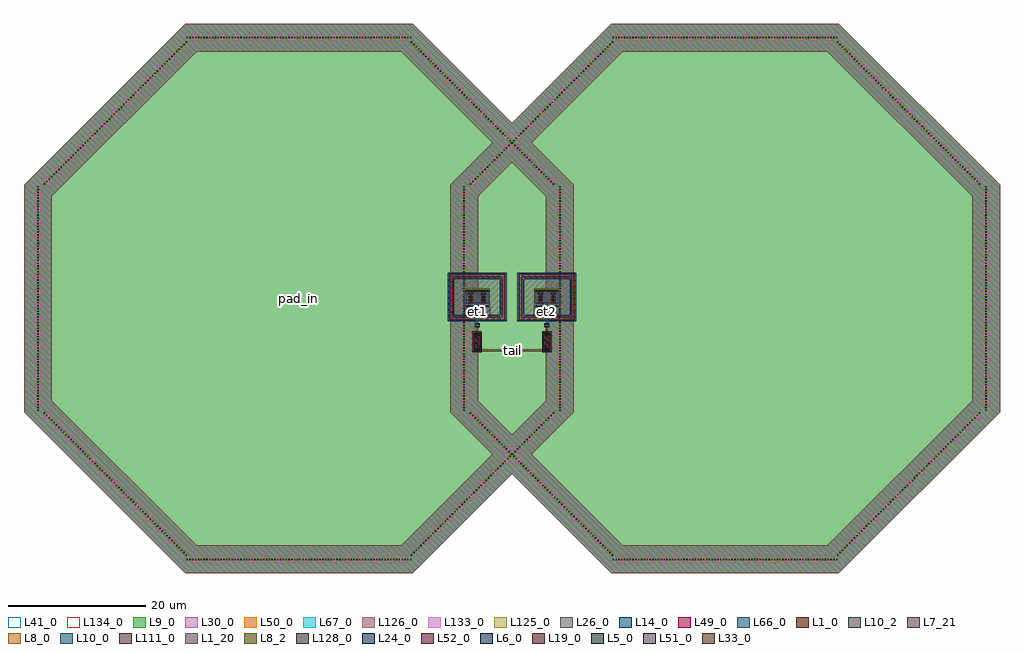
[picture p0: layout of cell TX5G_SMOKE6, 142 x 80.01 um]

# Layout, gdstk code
from math import pi, radians
import gdstk
lib = gdstk.Library(unit=1e-6, precision=1e-09)
def R(c, l, rs):  # rectangles x0, y0, x1, y1
    for r in rs: c.add(gdstk.rectangle(r[:2], r[2:], *l))
def A(c, l, x, y, w, h, nx, ny, dx, dy):  # array of equal rectangles
    R(c, l, [(x+i*dx, y+j*dy, x+i*dx+w, y+j*dy+h) for i in range(nx) for j in range(ny)])
def P(c, l, *ps):  # polygons
    for p in ps: c.add(gdstk.Polygon(p, *l))
L1_0 = (1, 0)
L1_20 = (1, 20)
L5_0 = (5, 0)
L6_0 = (6, 0)
L7_21 = (7, 21)
L8_0 = (8, 0)
L8_2 = (8, 2)
L9_0 = (9, 0)
L10_0 = (10, 0)
L10_2 = (10, 2)
L14_0 = (14, 0)
L19_0 = (19, 0)
L24_0 = (24, 0)
L26_0 = (26, 0)
L30_0 = (30, 0)
L33_0 = (33, 0)
L41_0 = (41, 0)
L49_0 = (49, 0)
L50_0 = (50, 0)
L51_0 = (51, 0)
L52_0 = (52, 0)
L66_0 = (66, 0)
L67_0 = (67, 0)
L111_0 = (111, 0)
L125_0 = (125, 0)
L126_0 = (126, 0)
L128_0 = (128, 0)
L133_0 = (133, 0)
L134_0 = (134, 0)

npn13g2 = lib.new_cell('npn13G2')
R(npn13g2, L1_0, [(-0.925,0.98,0.925,1.28), (0.925,0.98,2.775,1.28)])
P(npn13g2, L1_0, [(-3.15,-3.13),(-3.15,3.58),(4.5,3.58),(4.5,3.08),(-2.65,3.08),(-2.65,-2.63),(4.5,-2.63),(4.5,3.58),(5,3.58),(5,-3.13)])
P(npn13g2, L1_20, [(-0.235,-0.83),(-0.445,-0.62),(-0.925,-0.62),(-0.925,0.98),(0.925,0.98),(0.925,-0.62),(0.445,-0.62),(0.235,-0.83)],
  [(1.615,-0.83),(1.405,-0.62),(0.925,-0.62),(0.925,0.98),(2.775,0.98),(2.775,-0.62),(2.295,-0.62),(2.085,-0.83)])
R(npn13g2, L6_0, [(-0.76,-1.22,0.76,-1.06), (1.09,-1.22,2.61,-1.06), (-0.825,1.05,0.825,1.21), (1.025,1.05,2.675,1.21)])
P(npn13g2, L7_21, [(-0.975,-2.43),(-0.975,-0.9),(-0.555,-0.48),(-0.555,0.69),(-0.305,0.94),(0.305,0.94),(0.555,0.69),(0.555,-0.48),(0.975,-0.9),(0.975,-2.43)],
  [(0.875,-2.43),(0.875,-0.9),(1.295,-0.48),(1.295,0.69),(1.545,0.94),(2.155,0.94),(2.405,0.69),(2.405,-0.48),(2.825,-0.9),(2.825,-2.43)])
R(npn13g2, L8_0, [(-0.975,-1.26,2.825,-1.02), (-0.35,-0.785,0.35,0.77), (1.5,-0.785,2.2,0.77), (-0.925,1.02,2.775,1.46)])
R(npn13g2, L8_2, [(-0.975,-1.26,2.825,-1.02), (-0.975,-1.26,2.825,-1.02), (-0.925,1.02,2.775,1.46), (-0.925,1.02,2.775,1.46)])
R(npn13g2, L10_0, [(-0.925,-0.785,2.775,0.77)])
R(npn13g2, L10_2, [(-0.745,-0.785,2.595,0.77), (-0.745,-0.785,2.595,0.77)])
P(npn13g2, L14_0, [(-3.35,-3.33),(-3.35,3.78),(4.3,3.78),(4.3,2.88),(-2.45,2.88),(-2.45,-2.43),(4.3,-2.43),(4.3,3.78),(5.2,3.78),(5.2,-3.33)])
A(npn13g2, L19_0, -0.3, -0.72, 0.19, 0.19, 1, 4, 0, 0.41)
A(npn13g2, L19_0, 0.11, -0.72, 0.19, 0.19, 1, 4, 0, 0.41)
A(npn13g2, L19_0, 1.55, -0.72, 0.19, 0.19, 1, 4, 0, 0.41)
A(npn13g2, L19_0, 1.96, -0.72, 0.19, 0.19, 1, 4, 0, 0.41)
R(npn13g2, L26_0, [(-2.45,-2.43,4.3,2.88)])
R(npn13g2, L33_0, [(-0.035,-0.45,0.035,0.45), (1.815,-0.45,1.885,0.45)])
R(npn13g2, L51_0, [(-0.085,-0.5,0.085,0.5), (1.765,-0.5,1.935,0.5)])
npn13g2.add(gdstk.Label('npn13G2', (0,0), layer=51, texttype=0))
npn13g2.add(gdstk.Label('npn13G2', (1.85,0), layer=51, texttype=0))
npn13g2.add(gdstk.Label('npn13G2', (0.015,2.31), layer=63, texttype=0))
npn13g2.add(gdstk.Label('C', (0.925,1.24), layer=63, texttype=0))
npn13g2.add(gdstk.Label('B', (0.925,-1.14), layer=63, texttype=0))
npn13g2.add(gdstk.Label('E', (0.925,-0.007), layer=63, texttype=0))
npn13g2.add(gdstk.Label('Ae=2*1*0.07*0.90', (-1.977,-2.546), layer=63, texttype=0))

rsil = lib.new_cell('rsil')
R(rsil, L5_0, [(0,-0.35,1,0), (0,2,1,2.35)])
R(rsil, L6_0, [(0.07,-0.28,0.93,-0.12), (0.07,2.12,0.93,2.28)])
R(rsil, L8_0, [(0.02,-0.33,0.98,-0.07), (0.02,2.07,0.98,2.33)])
R(rsil, L8_2, [(0.02,-0.33,0.98,-0.07), (0.02,-0.33,0.98,-0.07), (0.02,2.07,0.98,2.33), (0.02,2.07,0.98,2.33)])
R(rsil, L24_0, [(0,0,1,2)])
R(rsil, L52_0, [(0,0,1,2)])
R(rsil, L111_0, [(-0.18,-0.53,1.18,0), (-0.18,0,1.18,2), (-0.18,0,1.18,2.53)])
R(rsil, L128_0, [(0,0,1,2)])
rsil.add(gdstk.Label('rsil r=22.9', (0.5,1), layer=63, texttype=0))
rsil.add(gdstk.Label('rsil', (0.5,1), layer=52, texttype=0))

via_stack = lib.new_cell('via_stack')
R(via_stack, L8_0, [(-0.35,-0.31,0.35,0.31)])
R(via_stack, L10_0, [(-0.35,-0.305,0.35,0.305)])
R(via_stack, L19_0, [(-0.3,-0.3,-0.11,-0.11), (0.11,-0.3,0.3,-0.11), (-0.3,0.11,-0.11,0.3), (0.11,0.11,0.3,0.3)])

bondpad = lib.new_cell('bondpad')
P(bondpad, L9_0, [(-15.7,-37.9),(-37.9,-15.7),(-37.9,15.7),(-15.7,37.9),(15.7,37.9),(37.9,15.7),(37.9,-15.7),(15.7,-37.9)])
P(bondpad, L30_0, [(-16.57,-40.005),(-40,-16.575),(-40,0),(-35.93,0),(-35.93,-14.885),(-14.885,-35.93),(14.885,-35.93),(35.93,-14.885),(35.93,14.885),(14.885,35.93),(-14.885,35.93),(-35.93,14.885),(-35.93,0),(-40,0),(-40,16.575),(-16.57,40.005),(16.57,40.005),(40,16.575),(40,-16.575),(16.57,-40.005)])
P(bondpad, L41_0, [(-16.57,-40.005),(-40,-16.575),(-40,16.575),(-16.57,40.005),(16.57,40.005),(40,16.575),(40,-16.575),(16.57,-40.005)])
A(bondpad, L49_0, -16.35, -38.06, 0.19, 0.19, 4, 2, 0.41, 75.93)
A(bondpad, L49_0, -14.705, -38.06, 0.19, 0.19, 3, 2, 0.41, 75.93)
A(bondpad, L49_0, -13.47, -38.06, 0.19, 0.19, 3, 2, 0.41, 75.93)
A(bondpad, L49_0, -12.235, -38.06, 0.19, 0.19, 4, 2, 0.41, 75.93)
A(bondpad, L49_0, -10.59, -38.06, 0.19, 0.19, 3, 2, 0.41, 75.93)
A(bondpad, L49_0, -9.355, -38.06, 0.19, 0.19, 3, 2, 0.41, 75.93)
A(bondpad, L49_0, -8.12, -38.06, 0.19, 0.19, 4, 2, 0.41, 75.93)
A(bondpad, L49_0, -6.475, -38.06, 0.19, 0.19, 3, 2, 0.41, 75.93)
A(bondpad, L49_0, -5.24, -38.06, 0.19, 0.19, 3, 2, 0.41, 75.93)
A(bondpad, L49_0, -4.005, -38.06, 0.19, 0.19, 3, 2, 0.41, 75.93)
A(bondpad, L49_0, -2.77, -38.06, 0.19, 0.19, 4, 2, 0.41, 75.93)
A(bondpad, L49_0, -1.125, -38.06, 0.19, 0.19, 3, 2, 0.41, 75.93)
A(bondpad, L49_0, 0.11, -38.06, 0.19, 0.19, 3, 2, 0.41, 75.93)
A(bondpad, L49_0, 1.345, -38.06, 0.19, 0.19, 4, 2, 0.41, 75.93)
A(bondpad, L49_0, 2.99, -38.06, 0.19, 0.19, 3, 2, 0.41, 75.93)
A(bondpad, L49_0, 4.225, -38.06, 0.19, 0.19, 3, 2, 0.41, 75.93)
A(bondpad, L49_0, 5.46, -38.06, 0.19, 0.19, 3, 2, 0.41, 75.93)
A(bondpad, L49_0, 6.695, -38.06, 0.19, 0.19, 4, 2, 0.41, 75.93)
A(bondpad, L49_0, 8.34, -38.06, 0.19, 0.19, 3, 2, 0.41, 75.93)
A(bondpad, L49_0, 9.575, -38.06, 0.19, 0.19, 3, 2, 0.41, 75.93)
A(bondpad, L49_0, 10.81, -38.06, 0.19, 0.19, 4, 2, 0.41, 75.93)
A(bondpad, L49_0, 12.455, -38.06, 0.19, 0.19, 3, 2, 0.41, 75.93)
A(bondpad, L49_0, 13.69, -38.06, 0.19, 0.19, 3, 2, 0.41, 75.93)
A(bondpad, L49_0, 14.925, -38.06, 0.19, 0.19, 3, 2, 0.41, 75.93)
A(bondpad, L49_0, -38.06, -16.35, 0.19, 0.19, 1, 4, 0, 0.41)
A(bondpad, L49_0, 37.87, -16.35, 0.19, 0.19, 1, 4, 0, 0.41)
A(bondpad, L49_0, -38.06, -14.705, 0.19, 0.19, 1, 3, 0, 0.41)
A(bondpad, L49_0, 37.87, -14.705, 0.19, 0.19, 1, 3, 0, 0.41)
A(bondpad, L49_0, -38.06, -13.47, 0.19, 0.19, 1, 3, 0, 0.41)
A(bondpad, L49_0, 37.87, -13.47, 0.19, 0.19, 1, 3, 0, 0.41)
A(bondpad, L49_0, -38.06, -12.235, 0.19, 0.19, 1, 4, 0, 0.41)
A(bondpad, L49_0, 37.87, -12.235, 0.19, 0.19, 1, 4, 0, 0.41)
A(bondpad, L49_0, -38.06, -10.59, 0.19, 0.19, 1, 3, 0, 0.41)
A(bondpad, L49_0, 37.87, -10.59, 0.19, 0.19, 1, 3, 0, 0.41)
A(bondpad, L49_0, -38.06, -9.355, 0.19, 0.19, 1, 3, 0, 0.41)
A(bondpad, L49_0, 37.87, -9.355, 0.19, 0.19, 1, 3, 0, 0.41)
A(bondpad, L49_0, -38.06, -8.12, 0.19, 0.19, 1, 4, 0, 0.41)
A(bondpad, L49_0, 37.87, -8.12, 0.19, 0.19, 1, 4, 0, 0.41)
A(bondpad, L49_0, -38.06, -6.475, 0.19, 0.19, 1, 3, 0, 0.41)
A(bondpad, L49_0, 37.87, -6.475, 0.19, 0.19, 1, 3, 0, 0.41)
A(bondpad, L49_0, -38.06, -5.24, 0.19, 0.19, 1, 3, 0, 0.41)
A(bondpad, L49_0, 37.87, -5.24, 0.19, 0.19, 1, 3, 0, 0.41)
A(bondpad, L49_0, -38.06, -4.005, 0.19, 0.19, 1, 3, 0, 0.41)
A(bondpad, L49_0, 37.87, -4.005, 0.19, 0.19, 1, 3, 0, 0.41)
A(bondpad, L49_0, -38.06, -2.77, 0.19, 0.19, 1, 4, 0, 0.41)
A(bondpad, L49_0, 37.87, -2.77, 0.19, 0.19, 1, 4, 0, 0.41)
A(bondpad, L49_0, -38.06, -1.125, 0.19, 0.19, 1, 3, 0, 0.41)
A(bondpad, L49_0, 37.87, -1.125, 0.19, 0.19, 1, 3, 0, 0.41)
A(bondpad, L49_0, -38.06, 0.11, 0.19, 0.19, 1, 3, 0, 0.41)
A(bondpad, L49_0, 37.87, 0.11, 0.19, 0.19, 1, 3, 0, 0.41)
A(bondpad, L49_0, -38.06, 1.345, 0.19, 0.19, 1, 4, 0, 0.41)
A(bondpad, L49_0, 37.87, 1.345, 0.19, 0.19, 1, 4, 0, 0.41)
A(bondpad, L49_0, -38.06, 2.99, 0.19, 0.19, 1, 3, 0, 0.41)
A(bondpad, L49_0, 37.87, 2.99, 0.19, 0.19, 1, 3, 0, 0.41)
A(bondpad, L49_0, -38.06, 4.225, 0.19, 0.19, 1, 3, 0, 0.41)
A(bondpad, L49_0, 37.87, 4.225, 0.19, 0.19, 1, 3, 0, 0.41)
A(bondpad, L49_0, -38.06, 5.46, 0.19, 0.19, 1, 3, 0, 0.41)
A(bondpad, L49_0, 37.87, 5.46, 0.19, 0.19, 1, 3, 0, 0.41)
A(bondpad, L49_0, -38.06, 6.695, 0.19, 0.19, 1, 4, 0, 0.41)
A(bondpad, L49_0, 37.87, 6.695, 0.19, 0.19, 1, 4, 0, 0.41)
A(bondpad, L49_0, -38.06, 8.34, 0.19, 0.19, 1, 3, 0, 0.41)
A(bondpad, L49_0, 37.87, 8.34, 0.19, 0.19, 1, 3, 0, 0.41)
A(bondpad, L49_0, -38.06, 9.575, 0.19, 0.19, 1, 3, 0, 0.41)
A(bondpad, L49_0, 37.87, 9.575, 0.19, 0.19, 1, 3, 0, 0.41)
A(bondpad, L49_0, -38.06, 10.81, 0.19, 0.19, 1, 4, 0, 0.41)
A(bondpad, L49_0, 37.87, 10.81, 0.19, 0.19, 1, 4, 0, 0.41)
A(bondpad, L49_0, -38.06, 12.455, 0.19, 0.19, 1, 3, 0, 0.41)
A(bondpad, L49_0, 37.87, 12.455, 0.19, 0.19, 1, 3, 0, 0.41)
A(bondpad, L49_0, -38.06, 13.69, 0.19, 0.19, 1, 3, 0, 0.41)
A(bondpad, L49_0, 37.87, 13.69, 0.19, 0.19, 1, 3, 0, 0.41)
A(bondpad, L49_0, -38.06, 14.925, 0.19, 0.19, 1, 3, 0, 0.41)
A(bondpad, L49_0, 37.87, 14.925, 0.19, 0.19, 1, 3, 0, 0.41)
R(bondpad, L49_0, [(16.16,-38.06,16.35,-37.87), (-16.475,-37.41,-16.285,-37.22), (16.285,-37.41,16.475,-37.22), (-16.825,-37.06,-16.635,-36.87), (16.635,-37.06,16.825,-36.87), (-17.175,-36.71,-16.985,-36.52), (16.985,-36.71,17.175,-36.52), (-17.525,-36.36,-17.335,-36.17), (17.335,-36.36,17.525,-36.17), (-17.875,-36.01,-17.685,-35.82), (17.685,-36.01,17.875,-35.82), (-18.225,-35.66,-18.035,-35.47), (18.035,-35.66,18.225,-35.47), (-18.575,-35.31,-18.385,-35.12), (18.385,-35.31,18.575,-35.12), (-18.925,-34.96,-18.735,-34.77), (18.735,-34.96,18.925,-34.77), (-19.275,-34.61,-19.085,-34.42), (19.085,-34.61,19.275,-34.42), (-19.625,-34.26,-19.435,-34.07), (19.435,-34.26,19.625,-34.07), (-19.975,-33.91,-19.785,-33.72), (19.785,-33.91,19.975,-33.72), (-20.325,-33.56,-20.135,-33.37), (20.135,-33.56,20.325,-33.37), (-20.675,-33.21,-20.485,-33.02), (20.485,-33.21,20.675,-33.02), (-21.025,-32.86,-20.835,-32.67), (20.835,-32.86,21.025,-32.67), (-21.375,-32.51,-21.185,-32.32), (21.185,-32.51,21.375,-32.32), (-21.725,-32.16,-21.535,-31.97), (21.535,-32.16,21.725,-31.97), (-22.075,-31.81,-21.885,-31.62), (21.885,-31.81,22.075,-31.62), (-22.425,-31.46,-22.235,-31.27), (22.235,-31.46,22.425,-31.27), (-22.775,-31.11,-22.585,-30.92), (22.585,-31.11,22.775,-30.92), (-23.125,-30.76,-22.935,-30.57), (22.935,-30.76,23.125,-30.57), (-23.475,-30.41,-23.285,-30.22), (23.285,-30.41,23.475,-30.22), (-23.825,-30.06,-23.635,-29.87), (23.635,-30.06,23.825,-29.87), (-24.175,-29.71,-23.985,-29.52), (23.985,-29.71,24.175,-29.52), (-24.525,-29.36,-24.335,-29.17), (24.335,-29.36,24.525,-29.17), (-24.875,-29.01,-24.685,-28.82), (24.685,-29.01,24.875,-28.82), (-25.225,-28.66,-25.035,-28.47), (25.035,-28.66,25.225,-28.47), (-25.575,-28.31,-25.385,-28.12), (25.385,-28.31,25.575,-28.12), (-25.925,-27.96,-25.735,-27.77), (25.735,-27.96,25.925,-27.77), (-26.275,-27.61,-26.085,-27.42), (26.085,-27.61,26.275,-27.42), (-26.625,-27.26,-26.435,-27.07), (26.435,-27.26,26.625,-27.07), (-26.975,-26.91,-26.785,-26.72), (26.785,-26.91,26.975,-26.72), (-27.325,-26.56,-27.135,-26.37), (27.135,-26.56,27.325,-26.37), (-27.675,-26.21,-27.485,-26.02), (27.485,-26.21,27.675,-26.02), (-28.025,-25.86,-27.835,-25.67), (27.835,-25.86,28.025,-25.67), (-28.375,-25.51,-28.185,-25.32), (28.185,-25.51,28.375,-25.32), (-28.725,-25.16,-28.535,-24.97), (28.535,-25.16,28.725,-24.97), (-29.075,-24.81,-28.885,-24.62), (28.885,-24.81,29.075,-24.62), (-29.425,-24.46,-29.235,-24.27), (29.235,-24.46,29.425,-24.27), (-29.775,-24.11,-29.585,-23.92), (29.585,-24.11,29.775,-23.92), (-30.125,-23.76,-29.935,-23.57), (29.935,-23.76,30.125,-23.57), (-30.475,-23.41,-30.285,-23.22), (30.285,-23.41,30.475,-23.22), (-30.825,-23.06,-30.635,-22.87), (30.635,-23.06,30.825,-22.87), (-31.175,-22.71,-30.985,-22.52), (30.985,-22.71,31.175,-22.52), (-31.525,-22.36,-31.335,-22.17), (31.335,-22.36,31.525,-22.17), (-31.875,-22.01,-31.685,-21.82), (31.685,-22.01,31.875,-21.82), (-32.225,-21.66,-32.035,-21.47), (32.035,-21.66,32.225,-21.47), (-32.575,-21.31,-32.385,-21.12), (32.385,-21.31,32.575,-21.12), (-32.925,-20.96,-32.735,-20.77), (32.735,-20.96,32.925,-20.77), (-33.275,-20.61,-33.085,-20.42), (33.085,-20.61,33.275,-20.42), (-33.625,-20.26,-33.435,-20.07), (33.435,-20.26,33.625,-20.07), (-33.975,-19.91,-33.785,-19.72), (33.785,-19.91,33.975,-19.72), (-34.325,-19.56,-34.135,-19.37), (34.135,-19.56,34.325,-19.37), (-34.675,-19.21,-34.485,-19.02), (34.485,-19.21,34.675,-19.02), (-35.025,-18.86,-34.835,-18.67), (34.835,-18.86,35.025,-18.67), (-35.375,-18.51,-35.185,-18.32), (35.185,-18.51,35.375,-18.32), (-35.725,-18.16,-35.535,-17.97), (35.535,-18.16,35.725,-17.97), (-36.075,-17.81,-35.885,-17.62), (35.885,-17.81,36.075,-17.62), (-36.425,-17.46,-36.235,-17.27), (36.235,-17.46,36.425,-17.27), (-36.775,-17.11,-36.585,-16.92), (36.585,-17.11,36.775,-16.92), (-37.125,-16.76,-36.935,-16.57), (36.935,-16.76,37.125,-16.57), (-38.06,16.16,-37.87,16.35), (37.87,16.16,38.06,16.35), (-37.125,16.57,-36.935,16.76), (36.935,16.57,37.125,16.76), (-36.775,16.92,-36.585,17.11), (36.585,16.92,36.775,17.11), (-36.425,17.27,-36.235,17.46), (36.235,17.27,36.425,17.46), (-36.075,17.62,-35.885,17.81), (35.885,17.62,36.075,17.81), (-35.725,17.97,-35.535,18.16), (35.535,17.97,35.725,18.16), (-35.375,18.32,-35.185,18.51), (35.185,18.32,35.375,18.51), (-35.025,18.67,-34.835,18.86), (34.835,18.67,35.025,18.86), (-34.675,19.02,-34.485,19.21), (34.485,19.02,34.675,19.21), (-34.325,19.37,-34.135,19.56), (34.135,19.37,34.325,19.56), (-33.975,19.72,-33.785,19.91), (33.785,19.72,33.975,19.91), (-33.625,20.07,-33.435,20.26), (33.435,20.07,33.625,20.26), (-33.275,20.42,-33.085,20.61), (33.085,20.42,33.275,20.61), (-32.925,20.77,-32.735,20.96), (32.735,20.77,32.925,20.96), (-32.575,21.12,-32.385,21.31), (32.385,21.12,32.575,21.31), (-32.225,21.47,-32.035,21.66), (32.035,21.47,32.225,21.66), (-31.875,21.82,-31.685,22.01), (31.685,21.82,31.875,22.01), (-31.525,22.17,-31.335,22.36), (31.335,22.17,31.525,22.36), (-31.175,22.52,-30.985,22.71), (30.985,22.52,31.175,22.71), (-30.825,22.87,-30.635,23.06), (30.635,22.87,30.825,23.06), (-30.475,23.22,-30.285,23.41), (30.285,23.22,30.475,23.41), (-30.125,23.57,-29.935,23.76), (29.935,23.57,30.125,23.76), (-29.775,23.92,-29.585,24.11), (29.585,23.92,29.775,24.11), (-29.425,24.27,-29.235,24.46), (29.235,24.27,29.425,24.46), (-29.075,24.62,-28.885,24.81), (28.885,24.62,29.075,24.81), (-28.725,24.97,-28.535,25.16), (28.535,24.97,28.725,25.16), (-28.375,25.32,-28.185,25.51), (28.185,25.32,28.375,25.51), (-28.025,25.67,-27.835,25.86), (27.835,25.67,28.025,25.86), (-27.675,26.02,-27.485,26.21), (27.485,26.02,27.675,26.21), (-27.325,26.37,-27.135,26.56), (27.135,26.37,27.325,26.56), (-26.975,26.72,-26.785,26.91), (26.785,26.72,26.975,26.91), (-26.625,27.07,-26.435,27.26), (26.435,27.07,26.625,27.26), (-26.275,27.42,-26.085,27.61), (26.085,27.42,26.275,27.61), (-25.925,27.77,-25.735,27.96), (25.735,27.77,25.925,27.96), (-25.575,28.12,-25.385,28.31), (25.385,28.12,25.575,28.31), (-25.225,28.47,-25.035,28.66), (25.035,28.47,25.225,28.66), (-24.875,28.82,-24.685,29.01), (24.685,28.82,24.875,29.01), (-24.525,29.17,-24.335,29.36), (24.335,29.17,24.525,29.36), (-24.175,29.52,-23.985,29.71), (23.985,29.52,24.175,29.71), (-23.825,29.87,-23.635,30.06), (23.635,29.87,23.825,30.06), (-23.475,30.22,-23.285,30.41), (23.285,30.22,23.475,30.41), (-23.125,30.57,-22.935,30.76), (22.935,30.57,23.125,30.76), (-22.775,30.92,-22.585,31.11), (22.585,30.92,22.775,31.11), (-22.425,31.27,-22.235,31.46), (22.235,31.27,22.425,31.46), (-22.075,31.62,-21.885,31.81), (21.885,31.62,22.075,31.81), (-21.725,31.97,-21.535,32.16), (21.535,31.97,21.725,32.16), (-21.375,32.32,-21.185,32.51), (21.185,32.32,21.375,32.51), (-21.025,32.67,-20.835,32.86), (20.835,32.67,21.025,32.86), (-20.675,33.02,-20.485,33.21), (20.485,33.02,20.675,33.21), (-20.325,33.37,-20.135,33.56), (20.135,33.37,20.325,33.56), (-19.975,33.72,-19.785,33.91), (19.785,33.72,19.975,33.91), (-19.625,34.07,-19.435,34.26), (19.435,34.07,19.625,34.26), (-19.275,34.42,-19.085,34.61), (19.085,34.42,19.275,34.61), (-18.925,34.77,-18.735,34.96), (18.735,34.77,18.925,34.96), (-18.575,35.12,-18.385,35.31), (18.385,35.12,18.575,35.31), (-18.225,35.47,-18.035,35.66), (18.035,35.47,18.225,35.66), (-17.875,35.82,-17.685,36.01), (17.685,35.82,17.875,36.01), (-17.525,36.17,-17.335,36.36), (17.335,36.17,17.525,36.36), (-17.175,36.52,-16.985,36.71), (16.985,36.52,17.175,36.71), (-16.825,36.87,-16.635,37.06), (16.635,36.87,16.825,37.06), (-16.475,37.22,-16.285,37.41), (16.285,37.22,16.475,37.41), (16.16,37.87,16.35,38.06)])
P(bondpad, L50_0, [(-16.57,-40.005),(-40,-16.575),(-40,0),(-35.93,0),(-35.93,-14.885),(-14.885,-35.93),(14.885,-35.93),(35.93,-14.885),(35.93,14.885),(14.885,35.93),(-14.885,35.93),(-35.93,14.885),(-35.93,0),(-40,0),(-40,16.575),(-16.57,40.005),(16.57,40.005),(40,16.575),(40,-16.575),(16.57,-40.005)])
A(bondpad, L66_0, -16.35, -38.06, 0.19, 0.19, 4, 2, 0.41, 75.93)
A(bondpad, L66_0, -14.705, -38.06, 0.19, 0.19, 3, 2, 0.41, 75.93)
A(bondpad, L66_0, -13.47, -38.06, 0.19, 0.19, 3, 2, 0.41, 75.93)
A(bondpad, L66_0, -12.235, -38.06, 0.19, 0.19, 4, 2, 0.41, 75.93)
A(bondpad, L66_0, -10.59, -38.06, 0.19, 0.19, 3, 2, 0.41, 75.93)
A(bondpad, L66_0, -9.355, -38.06, 0.19, 0.19, 3, 2, 0.41, 75.93)
A(bondpad, L66_0, -8.12, -38.06, 0.19, 0.19, 4, 2, 0.41, 75.93)
A(bondpad, L66_0, -6.475, -38.06, 0.19, 0.19, 3, 2, 0.41, 75.93)
A(bondpad, L66_0, -5.24, -38.06, 0.19, 0.19, 3, 2, 0.41, 75.93)
A(bondpad, L66_0, -4.005, -38.06, 0.19, 0.19, 3, 2, 0.41, 75.93)
A(bondpad, L66_0, -2.77, -38.06, 0.19, 0.19, 4, 2, 0.41, 75.93)
A(bondpad, L66_0, -1.125, -38.06, 0.19, 0.19, 3, 2, 0.41, 75.93)
A(bondpad, L66_0, 0.11, -38.06, 0.19, 0.19, 3, 2, 0.41, 75.93)
A(bondpad, L66_0, 1.345, -38.06, 0.19, 0.19, 4, 2, 0.41, 75.93)
A(bondpad, L66_0, 2.99, -38.06, 0.19, 0.19, 3, 2, 0.41, 75.93)
A(bondpad, L66_0, 4.225, -38.06, 0.19, 0.19, 3, 2, 0.41, 75.93)
A(bondpad, L66_0, 5.46, -38.06, 0.19, 0.19, 3, 2, 0.41, 75.93)
A(bondpad, L66_0, 6.695, -38.06, 0.19, 0.19, 4, 2, 0.41, 75.93)
A(bondpad, L66_0, 8.34, -38.06, 0.19, 0.19, 3, 2, 0.41, 75.93)
A(bondpad, L66_0, 9.575, -38.06, 0.19, 0.19, 3, 2, 0.41, 75.93)
A(bondpad, L66_0, 10.81, -38.06, 0.19, 0.19, 4, 2, 0.41, 75.93)
A(bondpad, L66_0, 12.455, -38.06, 0.19, 0.19, 3, 2, 0.41, 75.93)
A(bondpad, L66_0, 13.69, -38.06, 0.19, 0.19, 3, 2, 0.41, 75.93)
A(bondpad, L66_0, 14.925, -38.06, 0.19, 0.19, 3, 2, 0.41, 75.93)
A(bondpad, L66_0, -38.06, -16.35, 0.19, 0.19, 1, 4, 0, 0.41)
A(bondpad, L66_0, 37.87, -16.35, 0.19, 0.19, 1, 4, 0, 0.41)
A(bondpad, L66_0, -38.06, -14.705, 0.19, 0.19, 1, 3, 0, 0.41)
A(bondpad, L66_0, 37.87, -14.705, 0.19, 0.19, 1, 3, 0, 0.41)
A(bondpad, L66_0, -38.06, -13.47, 0.19, 0.19, 1, 3, 0, 0.41)
A(bondpad, L66_0, 37.87, -13.47, 0.19, 0.19, 1, 3, 0, 0.41)
A(bondpad, L66_0, -38.06, -12.235, 0.19, 0.19, 1, 4, 0, 0.41)
A(bondpad, L66_0, 37.87, -12.235, 0.19, 0.19, 1, 4, 0, 0.41)
A(bondpad, L66_0, -38.06, -10.59, 0.19, 0.19, 1, 3, 0, 0.41)
A(bondpad, L66_0, 37.87, -10.59, 0.19, 0.19, 1, 3, 0, 0.41)
A(bondpad, L66_0, -38.06, -9.355, 0.19, 0.19, 1, 3, 0, 0.41)
A(bondpad, L66_0, 37.87, -9.355, 0.19, 0.19, 1, 3, 0, 0.41)
A(bondpad, L66_0, -38.06, -8.12, 0.19, 0.19, 1, 4, 0, 0.41)
A(bondpad, L66_0, 37.87, -8.12, 0.19, 0.19, 1, 4, 0, 0.41)
A(bondpad, L66_0, -38.06, -6.475, 0.19, 0.19, 1, 3, 0, 0.41)
A(bondpad, L66_0, 37.87, -6.475, 0.19, 0.19, 1, 3, 0, 0.41)
A(bondpad, L66_0, -38.06, -5.24, 0.19, 0.19, 1, 3, 0, 0.41)
A(bondpad, L66_0, 37.87, -5.24, 0.19, 0.19, 1, 3, 0, 0.41)
A(bondpad, L66_0, -38.06, -4.005, 0.19, 0.19, 1, 3, 0, 0.41)
A(bondpad, L66_0, 37.87, -4.005, 0.19, 0.19, 1, 3, 0, 0.41)
A(bondpad, L66_0, -38.06, -2.77, 0.19, 0.19, 1, 4, 0, 0.41)
A(bondpad, L66_0, 37.87, -2.77, 0.19, 0.19, 1, 4, 0, 0.41)
A(bondpad, L66_0, -38.06, -1.125, 0.19, 0.19, 1, 3, 0, 0.41)
A(bondpad, L66_0, 37.87, -1.125, 0.19, 0.19, 1, 3, 0, 0.41)
A(bondpad, L66_0, -38.06, 0.11, 0.19, 0.19, 1, 3, 0, 0.41)
A(bondpad, L66_0, 37.87, 0.11, 0.19, 0.19, 1, 3, 0, 0.41)
A(bondpad, L66_0, -38.06, 1.345, 0.19, 0.19, 1, 4, 0, 0.41)
A(bondpad, L66_0, 37.87, 1.345, 0.19, 0.19, 1, 4, 0, 0.41)
A(bondpad, L66_0, -38.06, 2.99, 0.19, 0.19, 1, 3, 0, 0.41)
A(bondpad, L66_0, 37.87, 2.99, 0.19, 0.19, 1, 3, 0, 0.41)
A(bondpad, L66_0, -38.06, 4.225, 0.19, 0.19, 1, 3, 0, 0.41)
A(bondpad, L66_0, 37.87, 4.225, 0.19, 0.19, 1, 3, 0, 0.41)
A(bondpad, L66_0, -38.06, 5.46, 0.19, 0.19, 1, 3, 0, 0.41)
A(bondpad, L66_0, 37.87, 5.46, 0.19, 0.19, 1, 3, 0, 0.41)
A(bondpad, L66_0, -38.06, 6.695, 0.19, 0.19, 1, 4, 0, 0.41)
A(bondpad, L66_0, 37.87, 6.695, 0.19, 0.19, 1, 4, 0, 0.41)
A(bondpad, L66_0, -38.06, 8.34, 0.19, 0.19, 1, 3, 0, 0.41)
A(bondpad, L66_0, 37.87, 8.34, 0.19, 0.19, 1, 3, 0, 0.41)
A(bondpad, L66_0, -38.06, 9.575, 0.19, 0.19, 1, 3, 0, 0.41)
A(bondpad, L66_0, 37.87, 9.575, 0.19, 0.19, 1, 3, 0, 0.41)
A(bondpad, L66_0, -38.06, 10.81, 0.19, 0.19, 1, 4, 0, 0.41)
A(bondpad, L66_0, 37.87, 10.81, 0.19, 0.19, 1, 4, 0, 0.41)
A(bondpad, L66_0, -38.06, 12.455, 0.19, 0.19, 1, 3, 0, 0.41)
A(bondpad, L66_0, 37.87, 12.455, 0.19, 0.19, 1, 3, 0, 0.41)
A(bondpad, L66_0, -38.06, 13.69, 0.19, 0.19, 1, 3, 0, 0.41)
A(bondpad, L66_0, 37.87, 13.69, 0.19, 0.19, 1, 3, 0, 0.41)
A(bondpad, L66_0, -38.06, 14.925, 0.19, 0.19, 1, 3, 0, 0.41)
A(bondpad, L66_0, 37.87, 14.925, 0.19, 0.19, 1, 3, 0, 0.41)
R(bondpad, L66_0, [(16.16,-38.06,16.35,-37.87), (-16.475,-37.41,-16.285,-37.22), (16.285,-37.41,16.475,-37.22), (-16.825,-37.06,-16.635,-36.87), (16.635,-37.06,16.825,-36.87), (-17.175,-36.71,-16.985,-36.52), (16.985,-36.71,17.175,-36.52), (-17.525,-36.36,-17.335,-36.17), (17.335,-36.36,17.525,-36.17), (-17.875,-36.01,-17.685,-35.82), (17.685,-36.01,17.875,-35.82), (-18.225,-35.66,-18.035,-35.47), (18.035,-35.66,18.225,-35.47), (-18.575,-35.31,-18.385,-35.12), (18.385,-35.31,18.575,-35.12), (-18.925,-34.96,-18.735,-34.77), (18.735,-34.96,18.925,-34.77), (-19.275,-34.61,-19.085,-34.42), (19.085,-34.61,19.275,-34.42), (-19.625,-34.26,-19.435,-34.07), (19.435,-34.26,19.625,-34.07), (-19.975,-33.91,-19.785,-33.72), (19.785,-33.91,19.975,-33.72), (-20.325,-33.56,-20.135,-33.37), (20.135,-33.56,20.325,-33.37), (-20.675,-33.21,-20.485,-33.02), (20.485,-33.21,20.675,-33.02), (-21.025,-32.86,-20.835,-32.67), (20.835,-32.86,21.025,-32.67), (-21.375,-32.51,-21.185,-32.32), (21.185,-32.51,21.375,-32.32), (-21.725,-32.16,-21.535,-31.97), (21.535,-32.16,21.725,-31.97), (-22.075,-31.81,-21.885,-31.62), (21.885,-31.81,22.075,-31.62), (-22.425,-31.46,-22.235,-31.27), (22.235,-31.46,22.425,-31.27), (-22.775,-31.11,-22.585,-30.92), (22.585,-31.11,22.775,-30.92), (-23.125,-30.76,-22.935,-30.57), (22.935,-30.76,23.125,-30.57), (-23.475,-30.41,-23.285,-30.22), (23.285,-30.41,23.475,-30.22), (-23.825,-30.06,-23.635,-29.87), (23.635,-30.06,23.825,-29.87), (-24.175,-29.71,-23.985,-29.52), (23.985,-29.71,24.175,-29.52), (-24.525,-29.36,-24.335,-29.17), (24.335,-29.36,24.525,-29.17), (-24.875,-29.01,-24.685,-28.82), (24.685,-29.01,24.875,-28.82), (-25.225,-28.66,-25.035,-28.47), (25.035,-28.66,25.225,-28.47), (-25.575,-28.31,-25.385,-28.12), (25.385,-28.31,25.575,-28.12), (-25.925,-27.96,-25.735,-27.77), (25.735,-27.96,25.925,-27.77), (-26.275,-27.61,-26.085,-27.42), (26.085,-27.61,26.275,-27.42), (-26.625,-27.26,-26.435,-27.07), (26.435,-27.26,26.625,-27.07), (-26.975,-26.91,-26.785,-26.72), (26.785,-26.91,26.975,-26.72), (-27.325,-26.56,-27.135,-26.37), (27.135,-26.56,27.325,-26.37), (-27.675,-26.21,-27.485,-26.02), (27.485,-26.21,27.675,-26.02), (-28.025,-25.86,-27.835,-25.67), (27.835,-25.86,28.025,-25.67), (-28.375,-25.51,-28.185,-25.32), (28.185,-25.51,28.375,-25.32), (-28.725,-25.16,-28.535,-24.97), (28.535,-25.16,28.725,-24.97), (-29.075,-24.81,-28.885,-24.62), (28.885,-24.81,29.075,-24.62), (-29.425,-24.46,-29.235,-24.27), (29.235,-24.46,29.425,-24.27), (-29.775,-24.11,-29.585,-23.92), (29.585,-24.11,29.775,-23.92), (-30.125,-23.76,-29.935,-23.57), (29.935,-23.76,30.125,-23.57), (-30.475,-23.41,-30.285,-23.22), (30.285,-23.41,30.475,-23.22), (-30.825,-23.06,-30.635,-22.87), (30.635,-23.06,30.825,-22.87), (-31.175,-22.71,-30.985,-22.52), (30.985,-22.71,31.175,-22.52), (-31.525,-22.36,-31.335,-22.17), (31.335,-22.36,31.525,-22.17), (-31.875,-22.01,-31.685,-21.82), (31.685,-22.01,31.875,-21.82), (-32.225,-21.66,-32.035,-21.47), (32.035,-21.66,32.225,-21.47), (-32.575,-21.31,-32.385,-21.12), (32.385,-21.31,32.575,-21.12), (-32.925,-20.96,-32.735,-20.77), (32.735,-20.96,32.925,-20.77), (-33.275,-20.61,-33.085,-20.42), (33.085,-20.61,33.275,-20.42), (-33.625,-20.26,-33.435,-20.07), (33.435,-20.26,33.625,-20.07), (-33.975,-19.91,-33.785,-19.72), (33.785,-19.91,33.975,-19.72), (-34.325,-19.56,-34.135,-19.37), (34.135,-19.56,34.325,-19.37), (-34.675,-19.21,-34.485,-19.02), (34.485,-19.21,34.675,-19.02), (-35.025,-18.86,-34.835,-18.67), (34.835,-18.86,35.025,-18.67), (-35.375,-18.51,-35.185,-18.32), (35.185,-18.51,35.375,-18.32), (-35.725,-18.16,-35.535,-17.97), (35.535,-18.16,35.725,-17.97), (-36.075,-17.81,-35.885,-17.62), (35.885,-17.81,36.075,-17.62), (-36.425,-17.46,-36.235,-17.27), (36.235,-17.46,36.425,-17.27), (-36.775,-17.11,-36.585,-16.92), (36.585,-17.11,36.775,-16.92), (-37.125,-16.76,-36.935,-16.57), (36.935,-16.76,37.125,-16.57), (-38.06,16.16,-37.87,16.35), (37.87,16.16,38.06,16.35), (-37.125,16.57,-36.935,16.76), (36.935,16.57,37.125,16.76), (-36.775,16.92,-36.585,17.11), (36.585,16.92,36.775,17.11), (-36.425,17.27,-36.235,17.46), (36.235,17.27,36.425,17.46), (-36.075,17.62,-35.885,17.81), (35.885,17.62,36.075,17.81), (-35.725,17.97,-35.535,18.16), (35.535,17.97,35.725,18.16), (-35.375,18.32,-35.185,18.51), (35.185,18.32,35.375,18.51), (-35.025,18.67,-34.835,18.86), (34.835,18.67,35.025,18.86), (-34.675,19.02,-34.485,19.21), (34.485,19.02,34.675,19.21), (-34.325,19.37,-34.135,19.56), (34.135,19.37,34.325,19.56), (-33.975,19.72,-33.785,19.91), (33.785,19.72,33.975,19.91), (-33.625,20.07,-33.435,20.26), (33.435,20.07,33.625,20.26), (-33.275,20.42,-33.085,20.61), (33.085,20.42,33.275,20.61), (-32.925,20.77,-32.735,20.96), (32.735,20.77,32.925,20.96), (-32.575,21.12,-32.385,21.31), (32.385,21.12,32.575,21.31), (-32.225,21.47,-32.035,21.66), (32.035,21.47,32.225,21.66), (-31.875,21.82,-31.685,22.01), (31.685,21.82,31.875,22.01), (-31.525,22.17,-31.335,22.36), (31.335,22.17,31.525,22.36), (-31.175,22.52,-30.985,22.71), (30.985,22.52,31.175,22.71), (-30.825,22.87,-30.635,23.06), (30.635,22.87,30.825,23.06), (-30.475,23.22,-30.285,23.41), (30.285,23.22,30.475,23.41), (-30.125,23.57,-29.935,23.76), (29.935,23.57,30.125,23.76), (-29.775,23.92,-29.585,24.11), (29.585,23.92,29.775,24.11), (-29.425,24.27,-29.235,24.46), (29.235,24.27,29.425,24.46), (-29.075,24.62,-28.885,24.81), (28.885,24.62,29.075,24.81), (-28.725,24.97,-28.535,25.16), (28.535,24.97,28.725,25.16), (-28.375,25.32,-28.185,25.51), (28.185,25.32,28.375,25.51), (-28.025,25.67,-27.835,25.86), (27.835,25.67,28.025,25.86), (-27.675,26.02,-27.485,26.21), (27.485,26.02,27.675,26.21), (-27.325,26.37,-27.135,26.56), (27.135,26.37,27.325,26.56), (-26.975,26.72,-26.785,26.91), (26.785,26.72,26.975,26.91), (-26.625,27.07,-26.435,27.26), (26.435,27.07,26.625,27.26), (-26.275,27.42,-26.085,27.61), (26.085,27.42,26.275,27.61), (-25.925,27.77,-25.735,27.96), (25.735,27.77,25.925,27.96), (-25.575,28.12,-25.385,28.31), (25.385,28.12,25.575,28.31), (-25.225,28.47,-25.035,28.66), (25.035,28.47,25.225,28.66), (-24.875,28.82,-24.685,29.01), (24.685,28.82,24.875,29.01), (-24.525,29.17,-24.335,29.36), (24.335,29.17,24.525,29.36), (-24.175,29.52,-23.985,29.71), (23.985,29.52,24.175,29.71), (-23.825,29.87,-23.635,30.06), (23.635,29.87,23.825,30.06), (-23.475,30.22,-23.285,30.41), (23.285,30.22,23.475,30.41), (-23.125,30.57,-22.935,30.76), (22.935,30.57,23.125,30.76), (-22.775,30.92,-22.585,31.11), (22.585,30.92,22.775,31.11), (-22.425,31.27,-22.235,31.46), (22.235,31.27,22.425,31.46), (-22.075,31.62,-21.885,31.81), (21.885,31.62,22.075,31.81), (-21.725,31.97,-21.535,32.16), (21.535,31.97,21.725,32.16), (-21.375,32.32,-21.185,32.51), (21.185,32.32,21.375,32.51), (-21.025,32.67,-20.835,32.86), (20.835,32.67,21.025,32.86), (-20.675,33.02,-20.485,33.21), (20.485,33.02,20.675,33.21), (-20.325,33.37,-20.135,33.56), (20.135,33.37,20.325,33.56), (-19.975,33.72,-19.785,33.91), (19.785,33.72,19.975,33.91), (-19.625,34.07,-19.435,34.26), (19.435,34.07,19.625,34.26), (-19.275,34.42,-19.085,34.61), (19.085,34.42,19.275,34.61), (-18.925,34.77,-18.735,34.96), (18.735,34.77,18.925,34.96), (-18.575,35.12,-18.385,35.31), (18.385,35.12,18.575,35.31), (-18.225,35.47,-18.035,35.66), (18.035,35.47,18.225,35.66), (-17.875,35.82,-17.685,36.01), (17.685,35.82,17.875,36.01), (-17.525,36.17,-17.335,36.36), (17.335,36.17,17.525,36.36), (-17.175,36.52,-16.985,36.71), (16.985,36.52,17.175,36.71), (-16.825,36.87,-16.635,37.06), (16.635,36.87,16.825,37.06), (-16.475,37.22,-16.285,37.41), (16.285,37.22,16.475,37.41), (16.16,37.87,16.35,38.06)])
P(bondpad, L67_0, [(-16.57,-40.005),(-40,-16.575),(-40,0),(-35.93,0),(-35.93,-14.885),(-14.885,-35.93),(14.885,-35.93),(35.93,-14.885),(35.93,14.885),(14.885,35.93),(-14.885,35.93),(-35.93,14.885),(-35.93,0),(-40,0),(-40,16.575),(-16.57,40.005),(16.57,40.005),(40,16.575),(40,-16.575),(16.57,-40.005)])
A(bondpad, L125_0, -16.15, -38.175, 0.42, 0.42, 4, 2, 0.86, 75.93)
A(bondpad, L125_0, -12.705, -38.175, 0.42, 0.42, 3, 2, 0.86, 75.93)
A(bondpad, L125_0, -10.12, -38.175, 0.42, 0.42, 3, 2, 0.86, 75.93)
A(bondpad, L125_0, -7.535, -38.175, 0.42, 0.42, 3, 2, 0.86, 75.93)
A(bondpad, L125_0, -4.95, -38.175, 0.42, 0.42, 3, 2, 0.86, 75.93)
A(bondpad, L125_0, -2.365, -38.175, 0.42, 0.42, 3, 2, 0.86, 75.93)
A(bondpad, L125_0, 0.22, -38.175, 0.42, 0.42, 3, 2, 0.86, 75.93)
A(bondpad, L125_0, 2.805, -38.175, 0.42, 0.42, 3, 2, 0.86, 75.93)
A(bondpad, L125_0, 5.39, -38.175, 0.42, 0.42, 3, 2, 0.86, 75.93)
A(bondpad, L125_0, 7.975, -38.175, 0.42, 0.42, 3, 2, 0.86, 75.93)
A(bondpad, L125_0, 10.56, -38.175, 0.42, 0.42, 3, 2, 0.86, 75.93)
A(bondpad, L125_0, 13.145, -38.175, 0.42, 0.42, 3, 2, 0.86, 75.93)
A(bondpad, L125_0, -38.175, -16.15, 0.42, 0.42, 1, 4, 0, 0.86)
A(bondpad, L125_0, 37.755, -16.15, 0.42, 0.42, 1, 4, 0, 0.86)
A(bondpad, L125_0, -38.175, -12.705, 0.42, 0.42, 1, 3, 0, 0.86)
A(bondpad, L125_0, 37.755, -12.705, 0.42, 0.42, 1, 3, 0, 0.86)
A(bondpad, L125_0, -38.175, -10.12, 0.42, 0.42, 1, 3, 0, 0.86)
A(bondpad, L125_0, 37.755, -10.12, 0.42, 0.42, 1, 3, 0, 0.86)
A(bondpad, L125_0, -38.175, -7.535, 0.42, 0.42, 1, 3, 0, 0.86)
A(bondpad, L125_0, 37.755, -7.535, 0.42, 0.42, 1, 3, 0, 0.86)
A(bondpad, L125_0, -38.175, -4.95, 0.42, 0.42, 1, 3, 0, 0.86)
A(bondpad, L125_0, 37.755, -4.95, 0.42, 0.42, 1, 3, 0, 0.86)
A(bondpad, L125_0, -38.175, -2.365, 0.42, 0.42, 1, 3, 0, 0.86)
A(bondpad, L125_0, 37.755, -2.365, 0.42, 0.42, 1, 3, 0, 0.86)
A(bondpad, L125_0, -38.175, 0.22, 0.42, 0.42, 1, 3, 0, 0.86)
A(bondpad, L125_0, 37.755, 0.22, 0.42, 0.42, 1, 3, 0, 0.86)
A(bondpad, L125_0, -38.175, 2.805, 0.42, 0.42, 1, 3, 0, 0.86)
A(bondpad, L125_0, 37.755, 2.805, 0.42, 0.42, 1, 3, 0, 0.86)
A(bondpad, L125_0, -38.175, 5.39, 0.42, 0.42, 1, 3, 0, 0.86)
A(bondpad, L125_0, 37.755, 5.39, 0.42, 0.42, 1, 3, 0, 0.86)
A(bondpad, L125_0, -38.175, 7.975, 0.42, 0.42, 1, 3, 0, 0.86)
A(bondpad, L125_0, 37.755, 7.975, 0.42, 0.42, 1, 3, 0, 0.86)
A(bondpad, L125_0, -38.175, 10.56, 0.42, 0.42, 1, 3, 0, 0.86)
A(bondpad, L125_0, 37.755, 10.56, 0.42, 0.42, 1, 3, 0, 0.86)
A(bondpad, L125_0, -38.175, 13.145, 0.42, 0.42, 1, 3, 0, 0.86)
A(bondpad, L125_0, 37.755, 13.145, 0.42, 0.42, 1, 3, 0, 0.86)
R(bondpad, L125_0, [(15.73,-38.175,16.15,-37.755), (-16.965,-37.15,-16.545,-36.73), (16.545,-37.15,16.965,-36.73), (-17.685,-36.43,-17.265,-36.01), (17.265,-36.43,17.685,-36.01), (-18.405,-35.71,-17.985,-35.29), (17.985,-35.71,18.405,-35.29), (-19.125,-34.99,-18.705,-34.57), (18.705,-34.99,19.125,-34.57), (-19.845,-34.27,-19.425,-33.85), (19.425,-34.27,19.845,-33.85), (-20.565,-33.55,-20.145,-33.13), (20.145,-33.55,20.565,-33.13), (-21.285,-32.83,-20.865,-32.41), (20.865,-32.83,21.285,-32.41), (-22.005,-32.11,-21.585,-31.69), (21.585,-32.11,22.005,-31.69), (-22.725,-31.39,-22.305,-30.97), (22.305,-31.39,22.725,-30.97), (-23.445,-30.67,-23.025,-30.25), (23.025,-30.67,23.445,-30.25), (-24.165,-29.95,-23.745,-29.53), (23.745,-29.95,24.165,-29.53), (-24.885,-29.23,-24.465,-28.81), (24.465,-29.23,24.885,-28.81), (-25.605,-28.51,-25.185,-28.09), (25.185,-28.51,25.605,-28.09), (-26.325,-27.79,-25.905,-27.37), (25.905,-27.79,26.325,-27.37), (-27.045,-27.07,-26.625,-26.65), (26.625,-27.07,27.045,-26.65), (-27.765,-26.35,-27.345,-25.93), (27.345,-26.35,27.765,-25.93), (-28.485,-25.63,-28.065,-25.21), (28.065,-25.63,28.485,-25.21), (-29.205,-24.91,-28.785,-24.49), (28.785,-24.91,29.205,-24.49), (-29.925,-24.19,-29.505,-23.77), (29.505,-24.19,29.925,-23.77), (-30.645,-23.47,-30.225,-23.05), (30.225,-23.47,30.645,-23.05), (-31.365,-22.75,-30.945,-22.33), (30.945,-22.75,31.365,-22.33), (-32.085,-22.03,-31.665,-21.61), (31.665,-22.03,32.085,-21.61), (-32.805,-21.31,-32.385,-20.89), (32.385,-21.31,32.805,-20.89), (-33.525,-20.59,-33.105,-20.17), (33.105,-20.59,33.525,-20.17), (-34.245,-19.87,-33.825,-19.45), (33.825,-19.87,34.245,-19.45), (-34.965,-19.15,-34.545,-18.73), (34.545,-19.15,34.965,-18.73), (-35.685,-18.43,-35.265,-18.01), (35.265,-18.43,35.685,-18.01), (-36.405,-17.71,-35.985,-17.29), (35.985,-17.71,36.405,-17.29), (-37.125,-16.99,-36.705,-16.57), (36.705,-16.99,37.125,-16.57), (-38.175,15.73,-37.755,16.15), (37.755,15.73,38.175,16.15), (-37.125,16.57,-36.705,16.99), (36.705,16.57,37.125,16.99), (-36.405,17.29,-35.985,17.71), (35.985,17.29,36.405,17.71), (-35.685,18.01,-35.265,18.43), (35.265,18.01,35.685,18.43), (-34.965,18.73,-34.545,19.15), (34.545,18.73,34.965,19.15), (-34.245,19.45,-33.825,19.87), (33.825,19.45,34.245,19.87), (-33.525,20.17,-33.105,20.59), (33.105,20.17,33.525,20.59), (-32.805,20.89,-32.385,21.31), (32.385,20.89,32.805,21.31), (-32.085,21.61,-31.665,22.03), (31.665,21.61,32.085,22.03), (-31.365,22.33,-30.945,22.75), (30.945,22.33,31.365,22.75), (-30.645,23.05,-30.225,23.47), (30.225,23.05,30.645,23.47), (-29.925,23.77,-29.505,24.19), (29.505,23.77,29.925,24.19), (-29.205,24.49,-28.785,24.91), (28.785,24.49,29.205,24.91), (-28.485,25.21,-28.065,25.63), (28.065,25.21,28.485,25.63), (-27.765,25.93,-27.345,26.35), (27.345,25.93,27.765,26.35), (-27.045,26.65,-26.625,27.07), (26.625,26.65,27.045,27.07), (-26.325,27.37,-25.905,27.79), (25.905,27.37,26.325,27.79), (-25.605,28.09,-25.185,28.51), (25.185,28.09,25.605,28.51), (-24.885,28.81,-24.465,29.23), (24.465,28.81,24.885,29.23), (-24.165,29.53,-23.745,29.95), (23.745,29.53,24.165,29.95), (-23.445,30.25,-23.025,30.67), (23.025,30.25,23.445,30.67), (-22.725,30.97,-22.305,31.39), (22.305,30.97,22.725,31.39), (-22.005,31.69,-21.585,32.11), (21.585,31.69,22.005,32.11), (-21.285,32.41,-20.865,32.83), (20.865,32.41,21.285,32.83), (-20.565,33.13,-20.145,33.55), (20.145,33.13,20.565,33.55), (-19.845,33.85,-19.425,34.27), (19.425,33.85,19.845,34.27), (-19.125,34.57,-18.705,34.99), (18.705,34.57,19.125,34.99), (-18.405,35.29,-17.985,35.71), (17.985,35.29,18.405,35.71), (-17.685,36.01,-17.265,36.43), (17.265,36.01,17.685,36.43), (-16.965,36.73,-16.545,37.15), (16.545,36.73,16.965,37.15), (15.73,37.755,16.15,38.175)])
P(bondpad, L126_0, [(-16.57,-40.005),(-40,-16.575),(-40,0),(-35.93,0),(-35.93,-14.885),(-14.885,-35.93),(14.885,-35.93),(35.93,-14.885),(35.93,14.885),(14.885,35.93),(-14.885,35.93),(-35.93,14.885),(-35.93,0),(-40,0),(-40,16.575),(-16.57,40.005),(16.57,40.005),(40,16.575),(40,-16.575),(16.57,-40.005)])
A(bondpad, L133_0, -9.49, -38.415, 0.9, 0.9, 3, 2, 2.01, 75.93)
A(bondpad, L133_0, 0.55, -38.415, 0.9, 0.9, 3, 2, 2.01, 75.93)
A(bondpad, L133_0, 10.59, -38.415, 0.9, 0.9, 3, 2, 2.01, 75.93)
A(bondpad, L133_0, -38.415, -9.49, 0.9, 0.9, 1, 3, 0, 2.01)
A(bondpad, L133_0, 37.515, -9.49, 0.9, 0.9, 1, 3, 0, 2.01)
A(bondpad, L133_0, -38.415, 0.55, 0.9, 0.9, 1, 3, 0, 2.01)
A(bondpad, L133_0, 37.515, 0.55, 0.9, 0.9, 1, 3, 0, 2.01)
A(bondpad, L133_0, -38.415, 10.59, 0.9, 0.9, 1, 3, 0, 2.01)
A(bondpad, L133_0, 37.515, 10.59, 0.9, 0.9, 1, 3, 0, 2.01)
R(bondpad, L133_0, [(-15.51,-38.415,-14.61,-37.515), (-13.505,-38.415,-12.605,-37.515), (-11.495,-38.415,-10.595,-37.515), (-3.465,-38.415,-2.565,-37.515), (-1.455,-38.415,-0.555,-37.515), (6.575,-38.415,7.475,-37.515), (8.585,-38.415,9.485,-37.515), (-18.975,-35.62,-18.075,-34.72), (18.075,-35.62,18.975,-34.72), (-20.625,-33.97,-19.725,-33.07), (19.725,-33.97,20.625,-33.07), (-22.275,-32.32,-21.375,-31.42), (21.375,-32.32,22.275,-31.42), (-23.925,-30.67,-23.025,-29.77), (23.025,-30.67,23.925,-29.77), (-25.575,-29.02,-24.675,-28.12), (24.675,-29.02,25.575,-28.12), (-27.225,-27.37,-26.325,-26.47), (26.325,-27.37,27.225,-26.47), (-28.875,-25.72,-27.975,-24.82), (27.975,-25.72,28.875,-24.82), (-30.525,-24.07,-29.625,-23.17), (29.625,-24.07,30.525,-23.17), (-32.175,-22.42,-31.275,-21.52), (31.275,-22.42,32.175,-21.52), (-33.825,-20.77,-32.925,-19.87), (32.925,-20.77,33.825,-19.87), (-35.475,-19.12,-34.575,-18.22), (34.575,-19.12,35.475,-18.22), (-37.125,-17.47,-36.225,-16.57), (36.225,-17.47,37.125,-16.57), (-38.415,-15.51,-37.515,-14.61), (37.515,-15.51,38.415,-14.61), (-38.415,-13.505,-37.515,-12.605), (37.515,-13.505,38.415,-12.605), (-38.415,-11.495,-37.515,-10.595), (37.515,-11.495,38.415,-10.595), (-38.415,-3.465,-37.515,-2.565), (37.515,-3.465,38.415,-2.565), (-38.415,-1.455,-37.515,-0.555), (37.515,-1.455,38.415,-0.555), (-38.415,6.575,-37.515,7.475), (37.515,6.575,38.415,7.475), (-38.415,8.585,-37.515,9.485), (37.515,8.585,38.415,9.485), (-37.125,16.57,-36.225,17.47), (36.225,16.57,37.125,17.47), (-35.475,18.22,-34.575,19.12), (34.575,18.22,35.475,19.12), (-33.825,19.87,-32.925,20.77), (32.925,19.87,33.825,20.77), (-32.175,21.52,-31.275,22.42), (31.275,21.52,32.175,22.42), (-30.525,23.17,-29.625,24.07), (29.625,23.17,30.525,24.07), (-28.875,24.82,-27.975,25.72), (27.975,24.82,28.875,25.72), (-27.225,26.47,-26.325,27.37), (26.325,26.47,27.225,27.37), (-25.575,28.12,-24.675,29.02), (24.675,28.12,25.575,29.02), (-23.925,29.77,-23.025,30.67), (23.025,29.77,23.925,30.67), (-22.275,31.42,-21.375,32.32), (21.375,31.42,22.275,32.32), (-20.625,33.07,-19.725,33.97), (19.725,33.07,20.625,33.97), (-18.975,34.72,-18.075,35.62), (18.075,34.72,18.975,35.62), (-15.51,37.515,-14.61,38.415), (-13.505,37.515,-12.605,38.415), (-11.495,37.515,-10.595,38.415), (-3.465,37.515,-2.565,38.415), (-1.455,37.515,-0.555,38.415), (6.575,37.515,7.475,38.415), (8.585,37.515,9.485,38.415)])
P(bondpad, L134_0, [(-16.57,-40.005),(-40,-16.575),(-40,16.575),(-16.57,40.005),(16.57,40.005),(40,16.575),(40,-16.575),(16.57,-40.005)])

tx5g_smoke6 = lib.new_cell('TX5G_SMOKE6')
R(tx5g_smoke6, L8_0, [(0.925,-7.65,11.075,-7.35), (0.775,-5.1,1.075,-4.1), (10.925,-5.1,11.225,-4.1)])
R(tx5g_smoke6, L10_0, [(0.775,-3.7,1.075,-0.007), (10.925,-3.7,11.225,-0.007)])
P(tx5g_smoke6, L10_0, [(0.925,-3.85),(0.925,-3.55),(0.925,-3.55),(0.925,-3.85)],
  [(11.075,-3.85),(11.075,-3.55),(11.075,-3.55),(11.075,-3.85)])
tx5g_smoke6.add(gdstk.Reference(npn13g2, (0,0)))
tx5g_smoke6.add(gdstk.Reference(npn13g2, (12,0), rotation=pi, x_reflection=True))
tx5g_smoke6.add(gdstk.Reference(rsil, (0.425,-7.3)))
tx5g_smoke6.add(gdstk.Reference(rsil, (11.575,-7.3), rotation=pi, x_reflection=True))
tx5g_smoke6.add(gdstk.Reference(via_stack, (0.925,-3.9)))
tx5g_smoke6.add(gdstk.Reference(via_stack, (11.075,-3.9)))
tx5g_smoke6.add(gdstk.Reference(bondpad, (-25,0)))
tx5g_smoke6.add(gdstk.Reference(bondpad, (37,0)))
tx5g_smoke6.add(gdstk.Label('et1', (0.925,-1.954), layer=10, texttype=25))
tx5g_smoke6.add(gdstk.Label('et2', (11.075,-1.954), layer=10, texttype=25))
tx5g_smoke6.add(gdstk.Label('tail', (6,-7.5), layer=8, texttype=25))
tx5g_smoke6.add(gdstk.Label('pad_in', (-25,0), layer=134, texttype=25))

lib.write_gds('TX5G_SMOKE6.gds')
